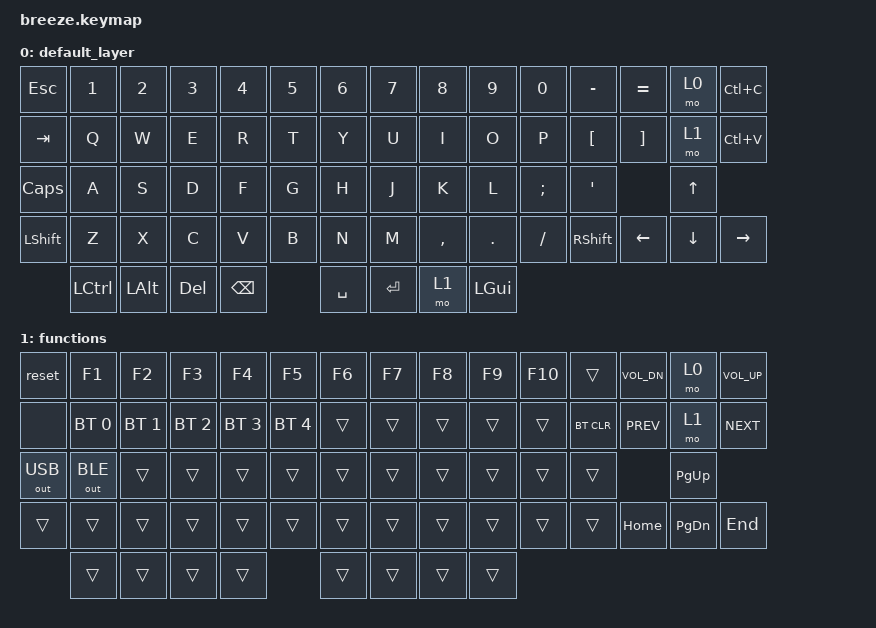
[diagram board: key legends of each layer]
/*
 * Copyright (c) 2020 The ZMK Contributors
 *
 * SPDX-License-Identifier: MIT
 */

#include <behaviors.dtsi>
#include <dt-bindings/zmk/keys.h>
#include <dt-bindings/zmk/bt.h>
#include <dt-bindings/zmk/outputs.h>

#define DEFAULT 0
#define FUNCTIONS 1

/ {
    keymap {
        compatible = "zmk,keymap";

        default_layer {
            // Ref: https://zmkfirmware.dev/docs/codes/
            // ----------------------------------------------------------------------------------------------------------------------------------
            // |  ESC  |  1  |  2  |  3   |  4   |  5   |                   |  6   |  7    |  8    |  9   |   0   |  -    | |  =  |  LY0 | COPY |
            // |  TAB  |  Q  |  W  |  E   |  R   |  T   |                   |  Y   |  U    |  I    |  O   |   P   |  DEL  | |  [  |  ]   | PST  |
            // |  CAPS |  A  |  S  |  D   |  F   |  G   |                   |  H   |  J    |  K    |  L   |   ;   |  '    | |     |  UP  |      |
            // | SHIFT |  Z  |  X  |  C   |  V   |  B   |                   |  N   |  M    |  ,    |  .   |   /   | SHIFT | |  L  |  DN  |  R   |
            //                     | CTRL | ALT  | DEL  | BACKSPACE |  | SPACE | ETER | mo(FUNCTIONS) | WINDOW) |

            bindings = <
                &kp ESC   &kp N1  &kp N2     &kp N3        &kp N4      &kp N5                               &kp N6  &kp N7        &kp N8   &kp N9    &kp N0   &kp MINUS   &kp EQUAL  &mo 0   &kp LC(C)
                &kp TAB   &kp Q   &kp W      &kp E         &kp R       &kp T                                &kp Y   &kp U         &kp I    &kp O     &kp P    &kp LBKT    &kp RBKT   &mo 1   &kp LC(V)
               &kp CAPS   &kp A   &kp S      &kp D         &kp F       &kp G                                &kp H   &kp J         &kp K    &kp L    &kp SEMI  &kp APOS               &kp UP
              &kp LSHFT   &kp Z   &kp X      &kp C         &kp V       &kp B                                &kp N   &kp M       &kp COMMA  &kp DOT  &kp FSLH  &kp RSHFT   &kp LEFT  &kp DOWN &kp RIGHT
                            &kp LCTRL  &kp LEFT_ALT  &kp DELETE  &kp BACKSPACE  &kp SPACE  &kp ENTER   &mo 1  &kp LEFT_GUI
            >;
        };

        functions {
            // ---------------------------------------------------------------------------------------------------------------------------------- 
            // | RESET |  F1 |  F2 |  F3  |  F4  |  F5  |                   |  F6  |  F7   |  F8   |  F9  |  F10  |       | | Vol- | Mute | Vol+ | 
            // | BTCLR | BT1 | BT2 |  BT3 |  BT4 |  BT5 |                   |      |       |       |      |       |       | | Prev | Play | Next | 
            // |       |     |     |      |      |      |                   |      |       |       |      |       |       | |      | PgUp |      | 
            // |       |     |     |      |      |      |                   |      |       |       |      |       |       | | Home | PgDn | End  | 
            //                     |      |      |      |        |  |       |      |       |       |

            bindings = <
       &reset        &kp F1        &kp F2        &kp F3        &kp F4        &kp F5                  &kp F6  &kp F7  &kp F8  &kp F9  &kp F10      &trans    &kp C_VOL_DN  &mo 0    &kp C_VOL_UP
       &none       &bt BT_SEL 0  &bt BT_SEL 1  &bt BT_SEL 2  &bt BT_SEL 3  &bt BT_SEL 4              &trans  &trans  &trans  &trans   &trans    &bt BT_CLR  &kp C_PREV    &mo 1    &kp C_NEXT
     &out OUT_USB  &out OUT_BLE    &trans        &trans        &trans        &trans                  &trans  &trans  &trans  &trans   &trans      &trans                &kp PG_UP
       &trans        &trans        &trans        &trans        &trans        &trans                  &trans  &trans  &trans  &trans   &trans      &trans      &kp HOME  &kp PG_DN  &kp END
                                                 &trans        &trans        &trans  &trans  &trans  &trans  &trans  &trans
            >;
        };
    };
};
